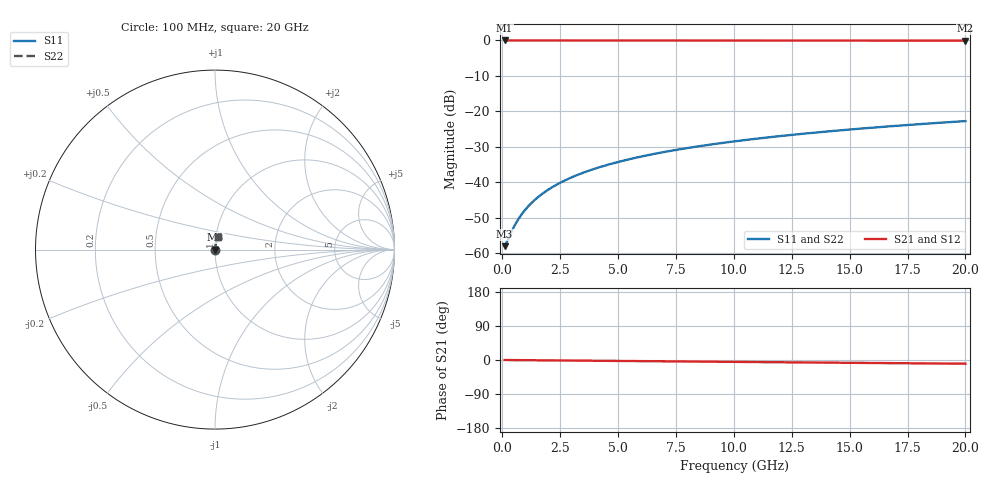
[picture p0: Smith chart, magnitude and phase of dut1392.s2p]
! Touchstone file exported from HFSS 2026.1.0
!  File:  C:/ffzhzh/LocalFiles/Ansys_Project_Files/temp_train_TSV_1392_1783196692_22436.aedt
!  Generated:  04:26:55 AM Jul  5, 2026
!  Design:  TSV
!  Project:  temp_train_TSV_1392_1783196692_22436
! Variables:
!  h_bsmrdl = 2um
!  h_ox = 20um
!  h_rdl = 5um
!  h_sub = 94.52um
!  h_tmrdl = 5um
!  h_tsv = 94.52um
!  h_via = 3um
!  l_bsmrdl = 300um
!  l_sub = 406.1um
!  l_tmrdl = 200um
!  m_sub = 200um
!  pitch = 25.34um
!  r_tsv = 3.05um
!  s_tmrdl = 10um
!  w_bsmrdl = 18um
!  w_sub = 500um
!  w_tmrdl = 12um
!  x_tsv_center1 = 206um
!  x_tsv_center2 = 524um
!  x_tsv_center3 = 736um
!  x_tsv_center4 = 1054um
!  x_tsv_center5 = 1266um
!  x_tsv_center6 = 1584um
# GHz S MA R 50.000000
! Terminal data exported
! Port[1] = TSV1_1_T1
! Port[2] = TSV1_1_T2
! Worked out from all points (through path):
!   200 points, 100 MHz to 20 GHz, reference 50 ohm
!   highest |S21| = -0.01 dB at 100 MHz (marker M1); lowest = -0.1 dB at 20 GHz (marker M2)
!   group delay of S21, straight-line fit = 1.36 ps
!   lowest |S11| = -58.1 dB at 100 MHz (marker M3), VSWR 1.00, Z = 50.1 + j0.0404 ohm
!   |S11| at or under -10 dB: start of sweep to end of sweep
!   |S22| runs from -58.1 to -22.8 dB; largest |S21 - S12| = 4.4e-15
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0.1  0.001247 18.9  0.9988 -0.1  0.9988 -0.1  0.001247 18.9
! Gamma 0 0 0 0
! Port Impedance 50 0 50 0
0.2  0.001435 34.0  0.9988 -0.1  0.9988 -0.1  0.001435 34.0
0.4  0.001999 52.5  0.9988 -0.2  0.9988 -0.2  0.001999 52.5
0.5  0.002325 58.0  0.9988 -0.3  0.9988 -0.3  0.002325 58.0
0.7  0.003018 65.4  0.9988 -0.4  0.9988 -0.4  0.003018 65.4
0.8  0.003376 67.9  0.9987 -0.4  0.9987 -0.4  0.003376 67.9
1  0.004108 71.6  0.9987 -0.5  0.9987 -0.5  0.004108 71.6
1.3  0.005228 75.1  0.9987 -0.7  0.9987 -0.7  0.005228 75.1
1.7  0.00674 77.9  0.9987 -0.9  0.9987 -0.9  0.00674 77.9
2.2  0.008644 79.8  0.9986 -1.1  0.9986 -1.1  0.008644 79.8
2.8  0.01093 81.0  0.9985 -1.4  0.9985 -1.4  0.01093 81.0
3.5  0.01359 81.7  0.9984 -1.8  0.9984 -1.8  0.01359 81.7
4.2  0.01624 82.0  0.9982 -2.1  0.9982 -2.1  0.01624 82.0
5  0.01924 82.1  0.998 -2.5  0.998 -2.5  0.01924 82.1
5.9  0.02259 82.0  0.9978 -3.0  0.9978 -3.0  0.02259 82.0
6.8  0.02591 81.9  0.9975 -3.4  0.9975 -3.4  0.02591 81.9
8.3  0.03138 81.4  0.9971 -4.1  0.9971 -4.1  0.03138 81.4
10.1  0.03787 80.9  0.9966 -5.0  0.9966 -5.0  0.03787 80.9
11.7  0.04359 80.3  0.9961 -5.8  0.9961 -5.8  0.04359 80.3
13.4  0.04962 79.7  0.9956 -6.6  0.9956 -6.6  0.04962 79.7
16.7  0.06122 78.4  0.9945 -8.2  0.9945 -8.2  0.06122 78.4
20  0.07271 77.1  0.9934 -9.8  0.9934 -9.8  0.07271 77.1
